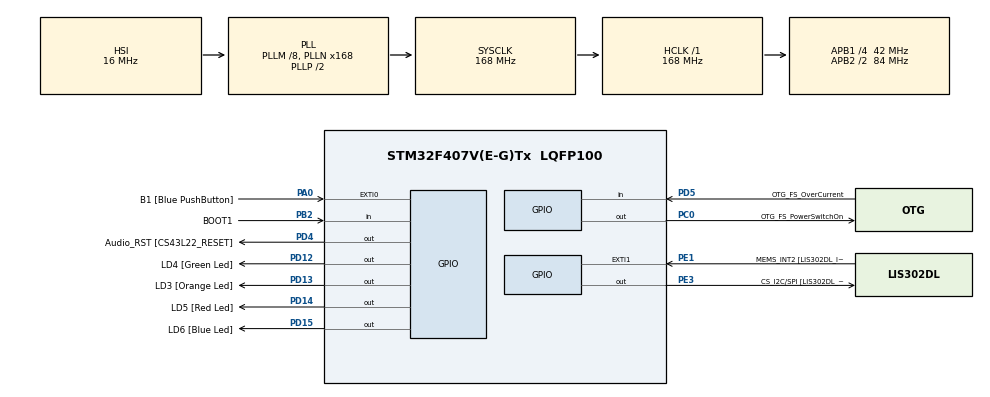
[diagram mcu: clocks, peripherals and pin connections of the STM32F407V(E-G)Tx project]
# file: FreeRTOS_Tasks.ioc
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Mcu.Family=STM32F4
Mcu.Name=STM32F407V(E-G)Tx
Mcu.Package=LQFP100
NVIC.PriorityGroup=NVIC_PRIORITYGROUP_4
NVIC.TIM6_DAC_IRQn=true\:0\:0\:false\:false\:true\:false\:true\:true
NVIC.TimeBase=TIM6_DAC_IRQn
NVIC.TimeBaseIP=TIM6
PA0-WKUP.GPIO_Label=B1 [Blue PushButton]
PA0-WKUP.Signal=GPXTI0
PA10.GPIO_Label=OTG_FS_ID
PA10.GPIO_Mode=GPIO_MODE_AF_PP
PA10.GPIO_PuPd=GPIO_NOPULL
PA10.GPIO_Speed=GPIO_SPEED_FREQ_LOW
PA10.Signal=USB_OTG_FS_ID
PA11.GPIO_Label=OTG_FS_DM
PA11.GPIO_Mode=GPIO_MODE_AF_PP
PA11.GPIO_PuPd=GPIO_NOPULL
PA11.GPIO_Speed=GPIO_SPEED_FREQ_LOW
PA11.Signal=USB_OTG_FS_DM
PA12.GPIO_Label=OTG_FS_DP
PA12.GPIO_Mode=GPIO_MODE_AF_PP
PA12.GPIO_PuPd=GPIO_NOPULL
PA12.GPIO_Speed=GPIO_SPEED_FREQ_LOW
PA12.Signal=USB_OTG_FS_DP
PA13.GPIO_Label=SWDIO
PA13.Signal=SYS_JTMS-SWDIO
PA14.GPIO_Label=SWCLK
PA14.Signal=SYS_JTCK-SWCLK
PA4.GPIO_Label=I2S3_WS [CS43L22_LRCK]
PA4.GPIO_Mode=GPIO_MODE_AF_PP
PA4.GPIO_PuPd=GPIO_NOPULL
PA4.GPIO_Speed=GPIO_SPEED_FREQ_LOW
PA4.Signal=I2S3_WS
PA5.GPIO_Label=SPI1_SCK [LIS302DL_SCL/SPC]
PA5.GPIO_Mode=GPIO_MODE_AF_PP
PA5.GPIO_PuPd=GPIO_NOPULL
PA5.GPIO_Speed=GPIO_SPEED_FREQ_LOW
PA5.Signal=SPI1_SCK
PA6.GPIO_Label=SPI1_MISO [LIS302DL_SDO]
PA6.GPIO_Mode=GPIO_MODE_AF_PP
PA6.GPIO_PuPd=GPIO_NOPULL
PA6.GPIO_Speed=GPIO_SPEED_FREQ_LOW
PA6.Signal=SPI1_MISO
PA7.GPIO_Label=SPI1_MOSI [LIS302DL_SDA/SDI/SDO]
PA7.GPIO_Mode=GPIO_MODE_AF_PP
PA7.GPIO_PuPd=GPIO_NOPULL
PA7.GPIO_Speed=GPIO_SPEED_FREQ_LOW
PA7.Signal=SPI1_MOSI
PA9.GPIO_Label=VBUS_FS
PA9.GPIO_Mode=GPIO_MODE_INPUT
PA9.GPIO_PuPd=GPIO_NOPULL
PA9.Signal=USB_OTG_FS_VBUS
PB10.GPIO_Label=CLK_IN [MP45DT02_CLK]
PB10.GPIO_Mode=GPIO_MODE_AF_PP
PB10.GPIO_PuPd=GPIO_NOPULL
PB10.GPIO_Speed=GPIO_SPEED_FREQ_LOW
PB10.Signal=I2S2_CK
PB2.GPIO_Label=BOOT1
PB2.GPIO_Mode=GPIO_MODE_INPUT
PB2.GPIO_PuPd=GPIO_NOPULL
PB2.Signal=GPIO_Input
PB3.GPIO_Label=SWO
PB3.Signal=SYS_JTDO-SWO
PB6.GPIO_Label=Audio_SCL [CS43L22_SCL]
PB6.GPIO_Mode=GPIO_MODE_AF_OD
PB6.GPIO_PuPd=GPIO_NOPULL
PB6.GPIO_Speed=GPIO_SPEED_FREQ_LOW
PB6.Signal=I2C1_SCL
PB9.GPIO_Label=Audio_SDA [CS43L22_SDA]
PB9.GPIO_Mode=GPIO_MODE_AF_OD
PB9.GPIO_PuPd=GPIO_NOPULL
PB9.GPIO_Speed=GPIO_SPEED_FREQ_LOW
PB9.Signal=I2C1_SDA
PC0.GPIO_Label=OTG_FS_PowerSwitchOn
PC0.GPIO_PuPd=GPIO_NOPULL
PC0.GPIO_Speed=GPIO_SPEED_FREQ_LOW
PC0.PinState=GPIO_PIN_SET
PC0.Signal=GPIO_Output
PC10.GPIO_Label=I2S3_SCK [CS43L22_SCLK]
PC10.GPIO_Mode=GPIO_MODE_AF_PP
PC10.GPIO_PuPd=GPIO_NOPULL
PC10.GPIO_Speed=GPIO_SPEED_FREQ_LOW
PC10.Signal=I2S3_CK
PC12.GPIO_Label=I2S3_SD [CS43L22_SDIN]
PC12.GPIO_Mode=GPIO_MODE_AF_PP
PC12.GPIO_PuPd=GPIO_NOPULL
PC12.GPIO_Speed=GPIO_SPEED_FREQ_LOW
PC12.Signal=I2S3_SD
PC14-OSC32_IN.GPIO_Label=PC14-OSC32_IN
PC14-OSC32_IN.Signal=RCC_OSC32_IN
PC15-OSC32_OUT.GPIO_Label=PC15-OSC32_OUT
PC15-OSC32_OUT.Signal=RCC_OSC32_OUT
PC3.GPIO_Label=PDM_OUT [MP45DT02_DOUT]
PC3.GPIO_Mode=GPIO_MODE_AF_PP
PC3.GPIO_PuPd=GPIO_NOPULL
PC3.GPIO_Speed=GPIO_SPEED_FREQ_LOW
PC3.Signal=I2S2_SD
PC7.GPIO_Label=I2S3_MCK [CS43L22_MCLK]
PC7.GPIO_Mode=GPIO_MODE_AF_PP
PC7.GPIO_PuPd=GPIO_NOPULL
PC7.GPIO_Speed=GPIO_SPEED_FREQ_LOW
PC7.Signal=I2S3_MCK
PD12.GPIO_Label=LD4 [Green Led]
PD12.GPIO_PuPd=GPIO_NOPULL
PD12.GPIO_Speed=GPIO_SPEED_FREQ_LOW
PD12.Signal=GPIO_Output
PD13.GPIO_Label=LD3 [Orange Led]
PD13.GPIO_PuPd=GPIO_NOPULL
PD13.GPIO_Speed=GPIO_SPEED_FREQ_LOW
PD13.Signal=GPIO_Output
PD14.GPIO_Label=LD5 [Red Led]
PD14.GPIO_PuPd=GPIO_NOPULL
PD14.GPIO_Speed=GPIO_SPEED_FREQ_LOW
PD14.Signal=GPIO_Output
PD15.GPIO_Label=LD6 [Blue Led]
PD15.GPIO_PuPd=GPIO_NOPULL
PD15.GPIO_Speed=GPIO_SPEED_FREQ_LOW
PD15.Signal=GPIO_Output
PD4.GPIO_Label=Audio_RST [CS43L22_RESET]
PD4.GPIO_PuPd=GPIO_NOPULL
PD4.GPIO_Speed=GPIO_SPEED_FREQ_LOW
PD4.Signal=GPIO_Output
PD5.GPIO_Label=OTG_FS_OverCurrent
PD5.GPIO_Mode=GPIO_MODE_INPUT
PD5.GPIO_PuPd=GPIO_NOPULL
PD5.Signal=GPIO_Input
PE1.GPIO_Label=MEMS_INT2 [LIS302DL_INT2]
PE1.GPIO_ModeDefaultEXTI=GPIO_MODE_EVT_RISING
PE1.GPIO_PuPd=GPIO_NOPULL
PE1.Signal=GPXTI1
PE3.GPIO_Label=CS_I2C/SPI [LIS302DL_CS_I2C/SPI]
PE3.GPIO_PuPd=GPIO_NOPULL
PE3.GPIO_Speed=GPIO_SPEED_FREQ_LOW
PE3.Signal=GPIO_Output
PH0-OSC_IN.GPIO_Label=PH0-OSC_IN
PH0-OSC_IN.Signal=RCC_OSC_IN
PH1-OSC_OUT.GPIO_Label=PH1-OSC_OUT
PH1-OSC_OUT.Signal=RCC_OSC_OUT
ProjectManager.HeapSize=0x200
ProjectManager.StackSize=0x400
ProjectManager.TargetToolchain=STM32CubeIDE
RCC.48MHZClocksFreq_Value=48000000
RCC.AHBFreq_Value=168000000
RCC.APB1CLKDivider=RCC_HCLK_DIV4
RCC.APB1Freq_Value=42000000
RCC.APB1TimFreq_Value=84000000
RCC.APB2CLKDivider=RCC_HCLK_DIV2
RCC.APB2Freq_Value=84000000
RCC.APB2TimFreq_Value=168000000
RCC.CortexFreq_Value=168000000
RCC.HCLKFreq_Value=168000000
RCC.HSE_VALUE=8000000
RCC.HSI_VALUE=16000000
RCC.LSE_VALUE=32768
RCC.PLLM=8
RCC.PLLN=168
RCC.PLLQ=7
RCC.SYSCLKFreq_VALUE=168000000
RCC.SYSCLKSource=RCC_SYSCLKSOURCE_PLLCLK
RCC.VCOOutputFreq_Value=336000000
VP_SYS_VS_tim6.Mode=TIM6
board=STM32F407G-DISC1

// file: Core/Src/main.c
/* USER CODE BEGIN Header */
/**
  ******************************************************************************
  * @file           : main.c
  * @brief          : Main program body
  ******************************************************************************
  * @attention
  *
  * Copyright (c) 2024 STMicroelectronics.
  * All rights reserved.
  *
  * This software is licensed under terms that can be found in the LICENSE file
  * in the root directory of this software component.
  * If no LICENSE file comes with this software, it is provided AS-IS.
  *
  ******************************************************************************
  */
/* USER CODE END Header */
#include "main.h"

/* USER CODE BEGIN Includes */
#include <stdio.h>
#include "FreeRTOS.h"
#include "task.h"
/* USER CODE END Includes */

/* USER CODE BEGIN PV */

#define DWT_CTRL		(*(volatile uint32_t* )0xE0001000)

/* USER CODE END PV */

void SystemClock_Config(void);
static void MX_GPIO_Init(void);
/* USER CODE BEGIN PFP */
static void task1_handler(void* parameters);
static void task2_handler(void* parameters);

/* USER CODE END PFP */

int main(void)
{

  /* USER CODE BEGIN 1 */
  TaskHandle_t task1_handle;
  TaskHandle_t task2_handle;

  BaseType_t status;
  /* USER CODE END 1 */

  /* MCU Configuration--------------------------------------------------------*/

  /* Reset of all peripherals, Initializes the Flash interface and the Systick. */
  HAL_Init();

  /* Configure the system clock */
  SystemClock_Config();

  /* Initialize all configured peripherals */
  MX_GPIO_Init();
  /* USER CODE BEGIN 2 */

  // Enable CYCCNTENA in DWT_CTRL register
  DWT_CTRL |= (1 << 0);

  // Initialize UART recording
  SEGGER_UART_init(500000);

  // Start SEGGER SysView recording
  SEGGER_SYSVIEW_Conf();

  status = xTaskCreate(task1_handler, "Task-1", 200, "Hello world from Task 1", 2, &task1_handle);
  configASSERT(status == pdPASS);

  status = xTaskCreate(task2_handler, "Task-2", 200, "Hello world from Task 2", 2, &task2_handle);
  configASSERT(status == pdPASS);

  // Start the FreeRTOS scheduler
  vTaskStartScheduler();

  // If the control comes here, then the launch of the scheduler has failed due to insufficient heap memory

  /* USER CODE END 2 */

  /* Infinite loop */
  while (1)
  {

  }
}

void SystemClock_Config(void)
{
  RCC_OscInitTypeDef RCC_OscInitStruct = {0};
  RCC_ClkInitTypeDef RCC_ClkInitStruct = {0};

  /** Configure the main internal regulator output voltage
  */
  __HAL_RCC_PWR_CLK_ENABLE();
  __HAL_PWR_VOLTAGESCALING_CONFIG(PWR_REGULATOR_VOLTAGE_SCALE1);

  /** Initializes the RCC Oscillators according to the specified parameters
  * in the RCC_OscInitTypeDef structure.
  */
  RCC_OscInitStruct.OscillatorType = RCC_OSCILLATORTYPE_HSI;
  RCC_OscInitStruct.HSIState = RCC_HSI_ON;
  RCC_OscInitStruct.HSICalibrationValue = RCC_HSICALIBRATION_DEFAULT;
  RCC_OscInitStruct.PLL.PLLState = RCC_PLL_ON;
  RCC_OscInitStruct.PLL.PLLSource = RCC_PLLSOURCE_HSI;
  RCC_OscInitStruct.PLL.PLLM = 8;
  RCC_OscInitStruct.PLL.PLLN = 168;
  RCC_OscInitStruct.PLL.PLLP = RCC_PLLP_DIV2;
  RCC_OscInitStruct.PLL.PLLQ = 7;
  if (HAL_RCC_OscConfig(&RCC_OscInitStruct) != HAL_OK)
  {
    Error_Handler();
  }

  /** Initializes the CPU, AHB and APB buses clocks
  */
  RCC_ClkInitStruct.ClockType = RCC_CLOCKTYPE_HCLK|RCC_CLOCKTYPE_SYSCLK
                              |RCC_CLOCKTYPE_PCLK1|RCC_CLOCKTYPE_PCLK2;
  RCC_ClkInitStruct.SYSCLKSource = RCC_SYSCLKSOURCE_PLLCLK;
  RCC_ClkInitStruct.AHBCLKDivider = RCC_SYSCLK_DIV1;
  RCC_ClkInitStruct.APB1CLKDivider = RCC_HCLK_DIV4;
  RCC_ClkInitStruct.APB2CLKDivider = RCC_HCLK_DIV2;

  if (HAL_RCC_ClockConfig(&RCC_ClkInitStruct, FLASH_LATENCY_5) != HAL_OK)
  {
    Error_Handler();
  }
}

static void MX_GPIO_Init(void)
{
  GPIO_InitTypeDef GPIO_InitStruct = {0};

  /* GPIO Ports Clock Enable */
  __HAL_RCC_GPIOE_CLK_ENABLE();
  __HAL_RCC_GPIOC_CLK_ENABLE();
  __HAL_RCC_GPIOH_CLK_ENABLE();
  __HAL_RCC_GPIOA_CLK_ENABLE();
  __HAL_RCC_GPIOB_CLK_ENABLE();
  __HAL_RCC_GPIOD_CLK_ENABLE();

  /*Configure GPIO pin Output Level */
  HAL_GPIO_WritePin(CS_I2C_SPI_GPIO_Port, CS_I2C_SPI_Pin, GPIO_PIN_RESET);

  /*Configure GPIO pin Output Level */
  HAL_GPIO_WritePin(OTG_FS_PowerSwitchOn_GPIO_Port, OTG_FS_PowerSwitchOn_Pin, GPIO_PIN_SET);

  /*Configure GPIO pin Output Level */
  HAL_GPIO_WritePin(GPIOD, LD4_Pin|LD3_Pin|LD5_Pin|LD6_Pin
                          |Audio_RST_Pin, GPIO_PIN_RESET);

  /*Configure GPIO pin : CS_I2C_SPI_Pin */
  GPIO_InitStruct.Pin = CS_I2C_SPI_Pin;
  GPIO_InitStruct.Mode = GPIO_MODE_OUTPUT_PP;
  GPIO_InitStruct.Pull = GPIO_NOPULL;
  GPIO_InitStruct.Speed = GPIO_SPEED_FREQ_LOW;
  HAL_GPIO_Init(CS_I2C_SPI_GPIO_Port, &GPIO_InitStruct);

  /*Configure GPIO pin : OTG_FS_PowerSwitchOn_Pin */
  GPIO_InitStruct.Pin = OTG_FS_PowerSwitchOn_Pin;
  GPIO_InitStruct.Mode = GPIO_MODE_OUTPUT_PP;
  GPIO_InitStruct.Pull = GPIO_NOPULL;
  GPIO_InitStruct.Speed = GPIO_SPEED_FREQ_LOW;
  HAL_GPIO_Init(OTG_FS_PowerSwitchOn_GPIO_Port, &GPIO_InitStruct);

  /*Configure GPIO pin : PDM_OUT_Pin */
  GPIO_InitStruct.Pin = PDM_OUT_Pin;
  GPIO_InitStruct.Mode = GPIO_MODE_AF_PP;
  GPIO_InitStruct.Pull = GPIO_NOPULL;
  GPIO_InitStruct.Speed = GPIO_SPEED_FREQ_LOW;
  GPIO_InitStruct.Alternate = GPIO_AF5_SPI2;
  HAL_GPIO_Init(PDM_OUT_GPIO_Port, &GPIO_InitStruct);

  /*Configure GPIO pin : B1_Pin */
  GPIO_InitStruct.Pin = B1_Pin;
  GPIO_InitStruct.Mode = GPIO_MODE_IT_RISING;
  GPIO_InitStruct.Pull = GPIO_NOPULL;
  HAL_GPIO_Init(B1_GPIO_Port, &GPIO_InitStruct);

  /*Configure GPIO pin : I2S3_WS_Pin */
  GPIO_InitStruct.Pin = I2S3_WS_Pin;
  GPIO_InitStruct.Mode = GPIO_MODE_AF_PP;
  GPIO_InitStruct.Pull = GPIO_NOPULL;
  GPIO_InitStruct.Speed = GPIO_SPEED_FREQ_LOW;
  GPIO_InitStruct.Alternate = GPIO_AF6_SPI3;
  HAL_GPIO_Init(I2S3_WS_GPIO_Port, &GPIO_InitStruct);

  /*Configure GPIO pins : SPI1_SCK_Pin SPI1_MISO_Pin SPI1_MOSI_Pin */
  GPIO_InitStruct.Pin = SPI1_SCK_Pin|SPI1_MISO_Pin|SPI1_MOSI_Pin;
  GPIO_InitStruct.Mode = GPIO_MODE_AF_PP;
  GPIO_InitStruct.Pull = GPIO_NOPULL;
  GPIO_InitStruct.Speed = GPIO_SPEED_FREQ_LOW;
  GPIO_InitStruct.Alternate = GPIO_AF5_SPI1;
  HAL_GPIO_Init(GPIOA, &GPIO_InitStruct);

  /*Configure GPIO pin : BOOT1_Pin */
  GPIO_InitStruct.Pin = BOOT1_Pin;
  GPIO_InitStruct.Mode = GPIO_MODE_INPUT;
  GPIO_InitStruct.Pull = GPIO_NOPULL;
  HAL_GPIO_Init(BOOT1_GPIO_Port, &GPIO_InitStruct);

  /*Configure GPIO pin : CLK_IN_Pin */
  GPIO_InitStruct.Pin = CLK_IN_Pin;
  GPIO_InitStruct.Mode = GPIO_MODE_AF_PP;
  GPIO_InitStruct.Pull = GPIO_NOPULL;
  GPIO_InitStruct.Speed = GPIO_SPEED_FREQ_LOW;
  GPIO_InitStruct.Alternate = GPIO_AF5_SPI2;
  HAL_GPIO_Init(CLK_IN_GPIO_Port, &GPIO_InitStruct);

  /*Configure GPIO pins : LD4_Pin LD3_Pin LD5_Pin LD6_Pin
                           Audio_RST_Pin */
  GPIO_InitStruct.Pin = LD4_Pin|LD3_Pin|LD5_Pin|LD6_Pin
                          |Audio_RST_Pin;
  GPIO_InitStruct.Mode = GPIO_MODE_OUTPUT_PP;
  GPIO_InitStruct.Pull = GPIO_NOPULL;
  GPIO_InitStruct.Speed = GPIO_SPEED_FREQ_LOW;
  HAL_GPIO_Init(GPIOD, &GPIO_InitStruct);

  /*Configure GPIO pins : I2S3_MCK_Pin I2S3_SCK_Pin I2S3_SD_Pin */
  GPIO_InitStruct.Pin = I2S3_MCK_Pin|I2S3_SCK_Pin|I2S3_SD_Pin;
  GPIO_InitStruct.Mode = GPIO_MODE_AF_PP;
  GPIO_InitStruct.Pull = GPIO_NOPULL;
  GPIO_InitStruct.Speed = GPIO_SPEED_FREQ_LOW;
  GPIO_InitStruct.Alternate = GPIO_AF6_SPI3;
  HAL_GPIO_Init(GPIOC, &GPIO_InitStruct);

  /*Configure GPIO pin : VBUS_FS_Pin */
  GPIO_InitStruct.Pin = VBUS_FS_Pin;
  GPIO_InitStruct.Mode = GPIO_MODE_INPUT;
  GPIO_InitStruct.Pull = GPIO_NOPULL;
  HAL_GPIO_Init(VBUS_FS_GPIO_Port, &GPIO_InitStruct);

  /*Configure GPIO pins : OTG_FS_ID_Pin OTG_FS_DM_Pin OTG_FS_DP_Pin */
  GPIO_InitStruct.Pin = OTG_FS_ID_Pin|OTG_FS_DM_Pin|OTG_FS_DP_Pin;
  GPIO_InitStruct.Mode = GPIO_MODE_AF_PP;
  GPIO_InitStruct.Pull = GPIO_NOPULL;
  GPIO_InitStruct.Speed = GPIO_SPEED_FREQ_LOW;
  GPIO_InitStruct.Alternate = GPIO_AF10_OTG_FS;
  HAL_GPIO_Init(GPIOA, &GPIO_InitStruct);

  /*Configure GPIO pin : OTG_FS_OverCurrent_Pin */
  GPIO_InitStruct.Pin = OTG_FS_OverCurrent_Pin;
  GPIO_InitStruct.Mode = GPIO_MODE_INPUT;
  GPIO_InitStruct.Pull = GPIO_NOPULL;
  HAL_GPIO_Init(OTG_FS_OverCurrent_GPIO_Port, &GPIO_InitStruct);

  /*Configure GPIO pins : Audio_SCL_Pin Audio_SDA_Pin */
  GPIO_InitStruct.Pin = Audio_SCL_Pin|Audio_SDA_Pin;
  GPIO_InitStruct.Mode = GPIO_MODE_AF_OD;
  GPIO_InitStruct.Pull = GPIO_NOPULL;
  GPIO_InitStruct.Speed = GPIO_SPEED_FREQ_LOW;
  GPIO_InitStruct.Alternate = GPIO_AF4_I2C1;
  HAL_GPIO_Init(GPIOB, &GPIO_InitStruct);

  /*Configure GPIO pin : MEMS_INT2_Pin */
  GPIO_InitStruct.Pin = MEMS_INT2_Pin;
  GPIO_InitStruct.Mode = GPIO_MODE_EVT_RISING;
  GPIO_InitStruct.Pull = GPIO_NOPULL;
  HAL_GPIO_Init(MEMS_INT2_GPIO_Port, &GPIO_InitStruct);

}

/* USER CODE BEGIN 4 */
static void task1_handler(void* parameters)
{
	char msg[100];
	while(1)
	{
		// Format string
		snprintf(msg, 100, (char*)parameters);

		SEGGER_SYSVIEW_PrintfTarget(msg);
		taskYIELD();
	}
}

static void task2_handler(void* parameters)
{
	char msg[100];
	while(1)
	{
		// Format string
		snprintf(msg, 100, (char*)parameters);

		SEGGER_SYSVIEW_PrintfTarget(msg);
		taskYIELD();
	}
}
/* USER CODE END 4 */

void HAL_TIM_PeriodElapsedCallback(TIM_HandleTypeDef *htim)
{
  if (htim->Instance == TIM6) {
    HAL_IncTick();
  }
}

void Error_Handler(void)
{
  __disable_irq();
  while (1)
  {
  }
}
